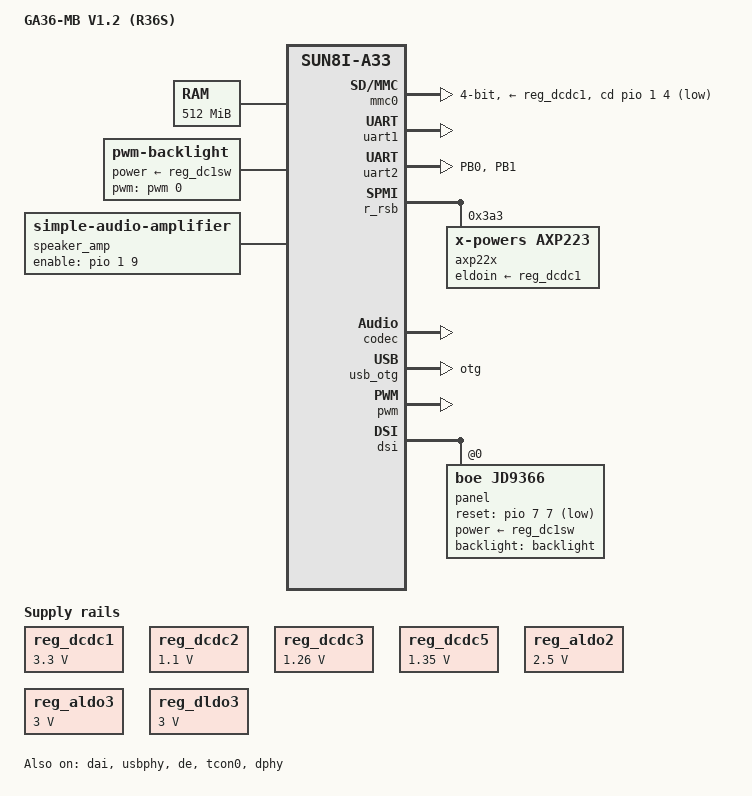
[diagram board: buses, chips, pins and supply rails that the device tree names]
/*
 * GA36-MB V1.2 (R36S) — mainline kernel device tree
 *
 * Target: Linux v6.12, arch/arm/boot/dts/allwinner/sun8i-a33-ga36-mb-v1.2.dts
 * (installed by scripts/fw/build-linux.sh).
 *
 * Derived exclusively from the stock boot blob `fex-embedded.bin` (decoded by
 * scripts/fex-decode.py, round-trip verified against sunxi-tools). Every
 * enabled node is traced to a `used=1` entry in output/sys_config.fex; the
 * board-specific GPIO/rail names are quoted in comments.
 *
 * Status: DRAFT. Values are the firmware's, not yet validated on silicon.
 * Validation gates are listed in docs/migration-plan.md.
 */

/dts-v1/;
#include "sun8i-a33.dtsi"

#include <dt-bindings/gpio/gpio.h>
#include <dt-bindings/pwm/pwm.h>

/ {
	model = "GA36-MB V1.2 (R36S)";
	compatible = "ga36-mb-v1.2","allwinner,sun8i-a33";

	aliases {
		serial1 = &uart1;
		serial2 = &uart2;
	};

	chosen {
		stdout-path = "serial2:115200n8";
	};

	/*
	 * Explicit /memory node. The stock boot1 does NOT reliably deliver
	 * ATAG_MEM fixup to a mainline zImage on this unit (kernel crashed
	 * before console with no memory node). Declare 512 MiB like the
	 * working community DTS (docs/GA36-MB-Linux/sun8i-a33-ga36mb-v12.dts).
	 * R36S spec claims 1 GiB (2x512 DDR3); if the unit really has 1 GiB
	 * the upper half is simply unused for now — tune after hardware proof.
	 */
	memory@40000000 {
		device_type = "memory";
		reg = <0x40000000 0x20000000>;
	};

	backlight: backlight {
		compatible = "pwm-backlight";
		/* fex [lcd0]: lcd_pwm_used=1, pwm_freq=20000 Hz, pol=0 (normal) */
		pwms = <&pwm 0 50000 0>;
		brightness-levels = <0 1 2 3 4 5 6 7 8 9 10 11 12 13 14 15 16
				     17 18 19 20 21 22 23 24 25 26 27 28 29 30
				     31 32 33 34 35 36 37 38 39 40 41 42 43 44
				     45 46 47 48 49 50 51 52 53 54 55 56 57 58
				     59 60 61 62 63 64 65 66 67 68 69 70 71 72
				     73 74 75 76 77 78 79 80 81 82 83 84 85 86
				     87 88 89 90 91 92 93 94 95 96 97 98 99 100>;
		default-brightness-level = <50>;	/* fex lcd0_bright = 50 */
		/* fex [lcd0]: lcd_power = "axp22_dc1sw" */
		power-supply = <&reg_dc1sw>;
	};

	/* fex [audio]: audio_used=1, audio_pa_ctrl = PH09<1> (gpio_out, data=1) */
	speaker_amp: speaker-amplifier {
		compatible = "simple-audio-amplifier";
		enable-gpios = <&pio 1 9 GPIO_ACTIVE_HIGH>;
		sound-name-prefix = "Speaker";
	};

	/*
	 * Input: the fex has no button/analog node (fex `gpio_para`
	 * PH01/PH02/PH03/PL04/PG13 is an SDK placeholder, not the keys).
	 * The R36S controls are wired to unmapped GPIOs; the mapping must be
	 * measured on the board — do NOT guess. See docs/migration-plan.md §input.
	 */
};

&mmc0 {
	/* fex [sdc0]: sdc_used=1, PF00-05 (mmc0), sdc_det = PB04, sdc_power_supply = "axp22_dcdc1" */
	vmmc-supply = <&reg_dcdc1>;
	bus-width = <4>;
	cd-gpios = <&pio 1 4 GPIO_ACTIVE_LOW>; /* PB04 */
	status = "okay";
};

/* eMMC (mmc2, PC) and SDIO WiFi (mmc1, PG) are disabled footprints in the
 * stock blob (sdc_used=0) — left disabled here on purpose. */

&uart1 {
	/* fex [uart1]: uart_used=1, PG06-09 mux 2 */
	pinctrl-names = "default";
	pinctrl-0 = <&uart1_pg_pins>, <&uart1_cts_rts_pg_pins>;
	status = "okay";
};

&uart2 {
	/* fex [uart_para]: uart_debug_port=2, PB00<2>/PB01<2> — debug console */
	pinctrl-names = "default";
	pinctrl-0 = <&uart2_pb_pins>;
	status = "okay";
};

&pio {
	/*
	 * PB0/PB1 function "uart2" is mux 0x2 in the sun8i-a33 pinctrl driver,
	 * matching the fex `port:PB00<2>`. Not in the SoC dtsi, so defined here.
	 */
	uart2_pb_pins: uart2-pb-pins {
		pins = "PB0", "PB1";
		function = "uart2";
	};
};

&r_rsb {
	/* fex [pmu_sply]: pmu_used=1, s_rsb0 on PL00/PL01 */
	status = "okay";

	axp22x: pmic@3a3 {
		compatible = "x-powers,axp223";
		reg = <0x3a3>;
		interrupt-parent = <&r_intc>;
		interrupts = <GIC_SPI 32 IRQ_TYPE_LEVEL_LOW>;
		eldoin-supply = <&reg_dcdc1>;
		x-powers,drive-vbus-en;
	};
};

#include "axp223.dtsi"

&ac_power_supply {
	status = "okay";
};

&battery_power_supply {
	status = "okay";
};

/*
 * Rails are set to the values programmed by the stock firmware
 * (fex [power_sply]) and marked always-on for the core rails. Before mass
 * production / first bring-up, verify actual AXP register state and rail
 * voltages with a multimeter (docs/migration-plan.md §power).
 */

&reg_dcdc1 {
	regulator-always-on;
	regulator-min-microvolt = <3300000>;
	regulator-max-microvolt = <3300000>;
	regulator-name = "vcc-3v3";
};

&reg_dcdc2 {
	regulator-always-on;
	regulator-min-microvolt = <1100000>;
	regulator-max-microvolt = <1100000>;
	regulator-name = "vdd-sys";
};

&reg_dcdc3 {
	regulator-always-on;
	regulator-min-microvolt = <1260000>;
	regulator-max-microvolt = <1260000>;
	regulator-name = "vdd-cpu";
};

&reg_dcdc5 {
	regulator-always-on;
	regulator-min-microvolt = <1350000>;
	regulator-max-microvolt = <1350000>;
	regulator-name = "vcc-dram";
};

&reg_aldo2 {
	regulator-always-on;
	regulator-min-microvolt = <2500000>;
	regulator-max-microvolt = <2500000>;
	regulator-name = "vdd-dll";
};

&reg_aldo3 {
	regulator-always-on;
	regulator-min-microvolt = <3000000>;
	regulator-max-microvolt = <3000000>;
	regulator-name = "vcc-avcc";
};

&reg_dc1sw {
	regulator-always-on;
	regulator-name = "vcc-lcd";
};

&reg_dldo3 {
	regulator-always-on;
	regulator-min-microvolt = <3000000>;
	regulator-max-microvolt = <3000000>;
	regulator-name = "vcc-dsi";
};

&reg_drivevbus {
	regulator-name = "usb0-vbus";
	status = "okay";
};

&codec {
	status = "okay";
};

&dai {
	status = "okay";
};

&sound {
	simple-audio-card,name = "ga36-mb-a33-audio";
	simple-audio-card,aux-devs = <&codec_analog>, <&speaker_amp>;
	simple-audio-card,widgets =
		"Headphone", "Headphone Jack",
		"Speaker", "Speaker";
	simple-audio-card,routing =
		"Left DAC", "DACL",
		"Right DAC", "DACR",
		"Headphone", "HP",
		"Speaker", "HP";
	status = "okay";
};

&usb_otg {
	/* fex [usbc0]: usb_used=1, port_type 2 (OTG), usb_id_gpio = PH08 */
	dr_mode = "otg";
	status = "okay";
};

&usb_power_supply {
	status = "okay";
};

&usbphy {
	/* fex: usb_vbus_det = "axp_ctrl", usb_vbus_drv = "port:power4" */
	usb0_id_det-gpios = <&pio 1 8 GPIO_ACTIVE_HIGH>; /* PH08 */
	usb0_vbus_power-supply = <&usb_power_supply>;
	usb0_vbus-supply = <&reg_drivevbus>;
	status = "okay";
};

&pwm {
	/* fex [lcd0]: pwm_positive = PH00<2> — pwm0 channel 0 */
	pinctrl-names = "default";
	pinctrl-0 = <&pwm0_pin>;
	status = "okay";
};

/*
 * Display — ENABLED per fex [lcd0]:
 *   lcd_driver_name = "jd9366_8inch" (MIPI-DSI, lcd_dsi_if=2, lcd_dsi_lane=2,
 *   lcd_dsi_format=0 = RGB888, lcd_dsi_te=0)
 *   lcd_x=640, lcd_y=480, lcd_dclk_freq=30 MHz
 *   hbp=120 ht=1040 hspw=40
 *   vbp=12 vt=518 vspw=6
 *   lcd_gpio_0 = PH07 (panel reset), power = axp22_dc1sw
 * Panel: JD9366 (compatible "boe,jd9366"), driven by
 * board/ga36-mb-v1.2/jd9366-ga36mbv1-2.c. Init DCS is hash-pinned to the
 * vendor lcd.ko via board/ga36-mb-v1.2/jd9366_init.h (see REPRODUCIBILITY.md).
 */

&de {
	status = "okay";
};

&tcon0 {
	status = "okay";
};

&dsi {
	status = "okay";
	vcc-dsi-supply = <&reg_dldo3>;

	panel@0 {
		compatible = "boe,jd9366";
		reg = <0>;
		power-supply = <&reg_dc1sw>;	/* fex: lcd_power = axp22_dc1sw */
		reset-gpios = <&pio 7 7 GPIO_ACTIVE_LOW>; /* fex lcd_gpio_0 = PH07 */
		backlight = <&backlight>;
	};
};

&dphy {
	status = "okay";
	vcc-supply = <&reg_dldo3>;
};
